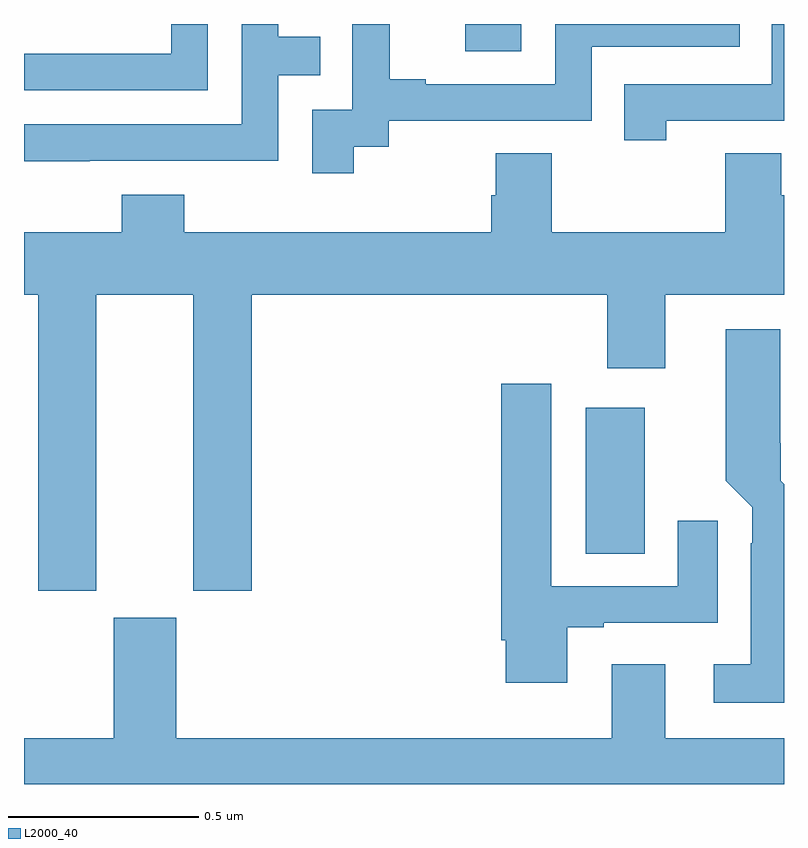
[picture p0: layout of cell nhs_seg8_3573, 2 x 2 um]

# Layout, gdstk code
import gdstk
lib = gdstk.Library(unit=1e-6, precision=1e-09)
def R(c, l, rs):  # rectangles x0, y0, x1, y1
    for r in rs: c.add(gdstk.rectangle(r[:2], r[2:], *l))
def P(c, l, *ps):  # polygons
    for p in ps: c.add(gdstk.Polygon(p, *l))
L2000_40 = (2000, 40)

nhs_seg8_3573 = lib.new_cell('nhs_seg8_3573')
R(nhs_seg8_3573, L2000_40, [(160.478,1094.506,160.633,1094.89), (160.161,1095.828,160.308,1095.9)])
P(nhs_seg8_3573, L2000_40, [(159.868,1095.577),(159.96,1095.577),(159.96,1095.645),(160.494,1095.645),(160.494,1095.84),(160.883,1095.84),(160.883,1095.9),(160.398,1095.9),(160.398,1095.741),(160.057,1095.741),(160.057,1095.754),(159.962,1095.754),(159.962,1095.9),(159.864,1095.9),(159.864,1095.675),(159.759,1095.675),(159.759,1095.507),(159.868,1095.507)],
  [(160.69,1095.645),(161,1095.645),(161,1095.9),(160.968,1095.9),(160.968,1095.741),(160.579,1095.741),(160.579,1095.594),(160.69,1095.594)],
  [(159.173,1095.54),(159.669,1095.54),(159.669,1095.765),(159.779,1095.765),(159.779,1095.866),(159.669,1095.866),(159.669,1095.9),(159.573,1095.9),(159.573,1095.636),(159,1095.636),(159,1095.539),(159.173,1095.539)],
  [(159.483,1095.9),(159.387,1095.9),(159.387,1095.822),(159,1095.822),(159,1095.726),(159.483,1095.726)],
  [(159.19,1095.188),(159.446,1095.188),(159.446,1094.409),(159.599,1094.409),(159.599,1095.188),(160.535,1095.188),(160.535,1094.994),(160.687,1094.994),(160.687,1095.188),(161,1095.188),(161,1095.45),(160.993,1095.45),(160.993,1095.56),(160.846,1095.56),(160.846,1095.352),(160.389,1095.352),(160.389,1095.56),(160.241,1095.56),(160.241,1095.45),(160.229,1095.45),(160.229,1095.352),(159.422,1095.352),(159.422,1095.451),(159.257,1095.451),(159.257,1095.352),(159,1095.352),(159,1095.188),(159.038,1095.188),(159.038,1094.409),(159.19,1094.409)],
  [(161,1094.689),(160.991,1094.698),(160.991,1094.797),(160.99,1094.797),(160.99,1095.097),(160.847,1095.097),(160.847,1094.698),(160.917,1094.628),(160.917,1094.534),(160.913,1094.534),(160.913,1094.215),(160.815,1094.215),(160.815,1094.114),(161,1094.114)],
  [(160.429,1094.313),(160.525,1094.313),(160.525,1094.325),(160.825,1094.325),(160.825,1094.593),(160.721,1094.593),(160.721,1094.421),(160.387,1094.421),(160.387,1094.953),(160.256,1094.953),(160.256,1094.278),(160.268,1094.278),(160.268,1094.166),(160.429,1094.166)],
  [(161,1094.02),(160.687,1094.02),(160.687,1094.215),(160.547,1094.215),(160.547,1094.02),(159.4,1094.02),(159.4,1094.337),(159.236,1094.337),(159.236,1094.02),(159,1094.02),(159,1093.9),(161,1093.9)])

lib.write_gds('nhs_seg8_3573.gds')
